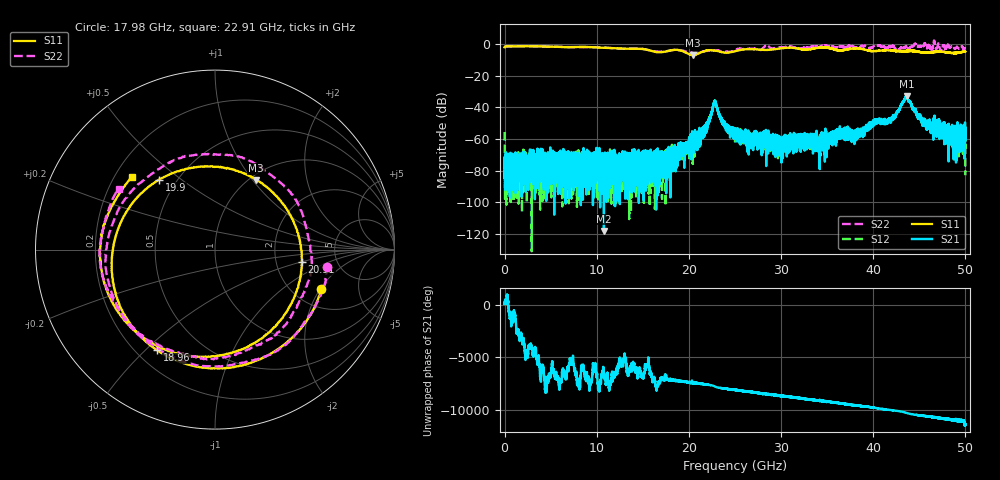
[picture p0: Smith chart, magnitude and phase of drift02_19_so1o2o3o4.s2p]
!Created with skrf (http://scikit-rf.org).
# Hz S RI R 50.0
!freq ReS11 ImS11 ReS21 ImS21 ReS12 ImS12 ReS22 ImS22
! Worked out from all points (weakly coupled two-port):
!   10001 points, 300 kHz to 50 GHz, reference 50 ohm
!   highest |S21| = -33.07 dB at 43.62 GHz (marker M1); lowest = -118.2 dB at 10.78 GHz (marker M2)
!   lowest |S11| = -6.9 dB at 20.4 GHz (marker M3), VSWR 2.63, Z = 53.6 + j52 ohm
!   |S11| at or under -10 dB: nowhere
!   |S22| runs from -5.7 to 2.3 dB; largest |S21 - S12| = 0.0033
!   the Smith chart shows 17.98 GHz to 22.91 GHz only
!   S11 on the Smith chart (normalised r, x): 17.98 GHz: 2.81, -2.05; 18.96 GHz: 0.28, -0.55; 19.9 GHz: 0.40, +0.42; 20.91 GHz: 2.81, -0.51; 22.91 GHz: 0.27, +0.35
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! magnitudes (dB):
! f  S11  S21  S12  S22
! 300 kHz  -2.1  -73.9  -55.5  -2.1
! 255.3 MHz  -1.4  -76.4  -78.6  -1.4
! 475.3 MHz  -1.4  -80.6  -74.5  -1.5
! 8.335 GHz  -1.7  -81.2  -74.1  -1.9
! 10.78 GHz  -2.4  -118.2  -78.8  -2.1
! 16.67 GHz  -5.2  -79.1  -75.9  -4.7
! 17.98 GHz  -4.0  -68.8  -75.0  -4.0
! 18.96 GHz  -3.8  -70.2  -68.3  -3.9
! 19.9 GHz  -6.0  -64.8  -63.1  -5.2
! 20.4 GHz  -6.9  -66.5  -69.5  -5.4
! 20.91 GHz  -6.2  -62.0  -58.2  -5.6
! 22.91 GHz  -4.2  -36.9  -36.8  -4.0
! 23.83 GHz  -5.4  -50.0  -50.6  -4.6
! 25 GHz  -4.5  -55.4  -57.9  -3.9
! 30.16 GHz  -2.5  -62.5  -61.2  -2.0
! 33.34 GHz  -3.0  -59.6  -66.9  -1.6
! 38.2 GHz  -2.8  -55.0  -58.2  -2.4
! 41.67 GHz  -4.0  -48.1  -47.6  -1.9
! 43.62 GHz  -4.4  -33.1  -33.6  -1.9
! 45.62 GHz  -5.3  -49.9  -48.8  0.2
! 49.73 GHz  -4.9  -53.2  -69.4  -2.4
! 50 GHz  -4.7  -60.9  -82.9  -2.6
